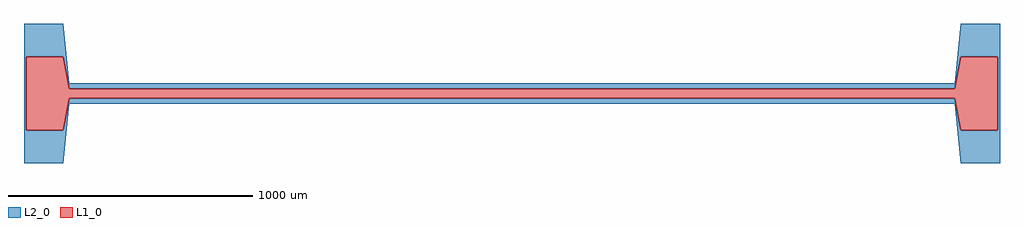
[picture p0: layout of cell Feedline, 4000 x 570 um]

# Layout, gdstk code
import gdstk
lib = gdstk.Library(unit=1e-6, precision=1e-09)
def R(c, l, rs):  # rectangles x0, y0, x1, y1
    for r in rs: c.add(gdstk.rectangle(r[:2], r[2:], *l))
def P(c, l, *ps):  # polygons
    for p in ps: c.add(gdstk.Polygon(p, *l))
L1_0 = (1, 0)
L2_0 = (2, 0)

feedline = lib.new_cell('Feedline')
R(feedline, L1_0, [(185,-20,205,20), (205,-20,3795,20), (3795,-20,3815,20)])
P(feedline, L1_0, [(10,-150),(160,-150),(185,-20),(185,20),(160,150),(10,150)],
  [(3990,150),(3840,150),(3815,20),(3815,-20),(3840,-150),(3990,-150)])
R(feedline, L2_0, [(185,-41,205,-20), (205,-41,3795,-20), (3795,-41,3815,-20), (185,20,205,41), (205,20,3795,41), (3795,20,3815,41)])
P(feedline, L2_0, [(160,285),(0,285),(0,-285),(160,-285),(185,-41),(185,-20),(160,-150),(10,-150),(10,150),(160,150),(185,20),(185,41)],
  [(3840,-285),(4000,-285),(4000,285),(3840,285),(3815,41),(3815,20),(3840,150),(3990,150),(3990,-150),(3840,-150),(3815,-20),(3815,-41)])

lib.write_gds('Feedline.gds')
